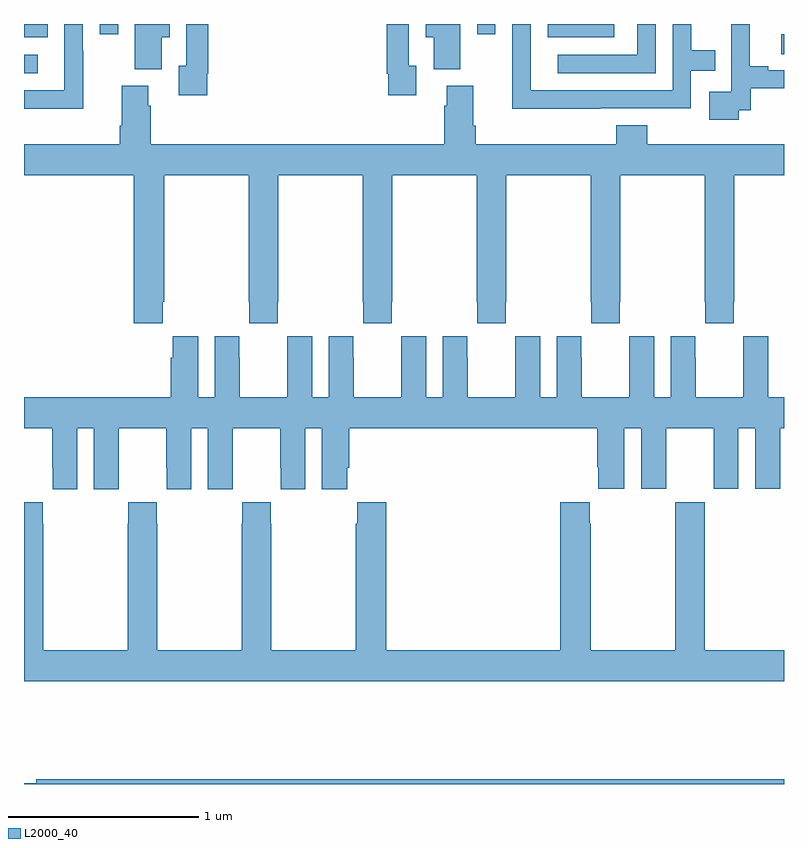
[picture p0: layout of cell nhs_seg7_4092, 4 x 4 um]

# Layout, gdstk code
import gdstk
lib = gdstk.Library(unit=1e-6, precision=1e-09)
def R(c, l, rs):  # rectangles x0, y0, x1, y1
    for r in rs: c.add(gdstk.rectangle(r[:2], r[2:], *l))
def P(c, l, *ps):  # polygons
    for p in ps: c.add(gdstk.Polygon(p, *l))
L2000_40 = (2000, 40)

nhs_seg7_4092 = lib.new_cell('nhs_seg7_4092')
R(nhs_seg7_4092, L2000_40, [(369,1079.742,369.073,1079.838), (372.986,1079.842,373,1079.946), (369,1079.93,369.124,1080), (371.756,1079.93,372.106,1080), (369.399,1079.946,369.495,1080), (371.385,1079.946,371.481,1080)])
P(nhs_seg7_4092, L2000_40, [(371.065,1079.781),(371.025,1079.781),(371.025,1080),(370.909,1080),(370.909,1079.737),(370.917,1079.737),(370.917,1079.625),(371.065,1079.625)],
  [(369.964,1079.737),(369.971,1079.737),(369.971,1080),(369.855,1080),(369.855,1079.781),(369.815,1079.781),(369.815,1079.625),(369.964,1079.625)],
  [(369.724,1079.93),(369.766,1079.93),(369.766,1080),(369.584,1080),(369.584,1079.761),(369.724,1079.761)],
  [(372.324,1080),(372.228,1080),(372.228,1079.838),(371.808,1079.838),(371.808,1079.742),(372.324,1079.742)],
  [(371.296,1080),(371.114,1080),(371.114,1079.93),(371.156,1079.93),(371.156,1079.761),(371.296,1079.761)],
  [(369.311,1079.858),(369.309,1079.858),(369.309,1080),(369.213,1080),(369.213,1079.652),(369,1079.652),(369,1079.555),(369.311,1079.555)],
  [(372.762,1079.547),(372.824,1079.547),(372.824,1079.661),(373,1079.661),(373,1079.757),(372.916,1079.757),(372.916,1079.777),(372.82,1079.777),(372.82,1080),(372.722,1080),(372.722,1079.947),(372.723,1079.947),(372.723,1079.643),(372.606,1079.643),(372.606,1079.496),(372.762,1079.496)],
  [(372.032,1079.556),(372.51,1079.556),(372.51,1079.754),(372.638,1079.754),(372.638,1079.863),(372.511,1079.863),(372.511,1080),(372.414,1080),(372.414,1079.652),(371.667,1079.652),(371.667,1080),(371.571,1080),(371.571,1079.858),(371.57,1079.858),(371.57,1079.555),(372.032,1079.555)],
  [(369.515,1079.464),(369.503,1079.464),(369.503,1079.368),(369,1079.368),(369,1079.204),(369.578,1079.204),(369.578,1078.425),(369.731,1078.425),(369.731,1078.537),(369.738,1078.537),(369.738,1079.204),(370.183,1079.204),(370.183,1078.537),(370.185,1078.537),(370.185,1078.425),(370.335,1078.425),(370.335,1078.537),(370.338,1078.537),(370.338,1079.204),(370.783,1079.204),(370.783,1078.537),(370.785,1078.537),(370.785,1078.425),(370.935,1078.425),(370.935,1078.537),(370.938,1078.537),(370.938,1079.204),(371.383,1079.204),(371.383,1078.537),(371.385,1078.537),(371.385,1078.425),(371.535,1078.425),(371.535,1078.537),(371.538,1078.537),(371.538,1079.204),(371.983,1079.204),(371.983,1078.537),(371.985,1078.537),(371.985,1078.425),(372.135,1078.425),(372.135,1078.537),(372.138,1078.537),(372.138,1079.204),(372.583,1079.204),(372.583,1078.537),(372.585,1078.537),(372.585,1078.425),(372.735,1078.425),(372.735,1078.537),(372.738,1078.537),(372.738,1079.204),(373,1079.204),(373,1079.368),(372.281,1079.368),(372.281,1079.467),(372.116,1079.467),(372.116,1079.368),(371.378,1079.368),(371.378,1079.464),(371.365,1079.464),(371.365,1079.676),(371.225,1079.676),(371.225,1079.57),(371.213,1079.57),(371.213,1079.368),(369.668,1079.368),(369.668,1079.57),(369.655,1079.57),(369.655,1079.676),(369.515,1079.676)],
  [(372.848,1077.555),(372.979,1077.555),(372.979,1077.872),(373,1077.872),(373,1078.036),(372.916,1078.036),(372.916,1078.357),(372.786,1078.357),(372.786,1078.244),(372.785,1078.244),(372.785,1078.036),(372.535,1078.036),(372.535,1078.244),(372.534,1078.244),(372.534,1078.357),(372.404,1078.357),(372.404,1078.036),(372.316,1078.036),(372.316,1078.357),(372.186,1078.357),(372.186,1078.244),(372.185,1078.244),(372.185,1078.036),(371.935,1078.036),(371.935,1078.244),(371.934,1078.244),(371.934,1078.357),(371.804,1078.357),(371.804,1078.036),(371.716,1078.036),(371.716,1078.357),(371.586,1078.357),(371.586,1078.244),(371.585,1078.244),(371.585,1078.036),(371.335,1078.036),(371.335,1078.244),(371.334,1078.244),(371.334,1078.357),(371.204,1078.357),(371.204,1078.036),(371.116,1078.036),(371.116,1078.357),(370.986,1078.357),(370.986,1078.244),(370.985,1078.244),(370.985,1078.036),(370.735,1078.036),(370.735,1078.244),(370.734,1078.244),(370.734,1078.357),(370.604,1078.357),(370.604,1078.036),(370.516,1078.036),(370.516,1078.357),(370.386,1078.357),(370.386,1078.244),(370.385,1078.244),(370.385,1078.036),(370.135,1078.036),(370.135,1078.244),(370.134,1078.244),(370.134,1078.357),(370.004,1078.357),(370.004,1078.036),(369.916,1078.036),(369.916,1078.357),(369.782,1078.357),(369.782,1078.244),(369.773,1078.244),(369.773,1078.036),(369,1078.036),(369,1077.872),(369.149,1077.872),(369.149,1077.664),(369.15,1077.664),(369.15,1077.552),(369.28,1077.552),(369.28,1077.872),(369.368,1077.872),(369.368,1077.552),(369.498,1077.552),(369.498,1077.664),(369.499,1077.664),(369.499,1077.872),(369.749,1077.872),(369.749,1077.664),(369.75,1077.664),(369.75,1077.552),(369.88,1077.552),(369.88,1077.872),(369.968,1077.872),(369.968,1077.552),(370.098,1077.552),(370.098,1077.664),(370.099,1077.664),(370.099,1077.872),(370.349,1077.872),(370.349,1077.664),(370.35,1077.664),(370.35,1077.552),(370.48,1077.552),(370.48,1077.872),(370.568,1077.872),(370.568,1077.552),(370.702,1077.552),(370.702,1077.664),(370.712,1077.664),(370.712,1077.872),(372.017,1077.872),(372.017,1077.667),(372.023,1077.667),(372.023,1077.555),(372.16,1077.555),(372.16,1077.872),(372.248,1077.872),(372.248,1077.555),(372.379,1077.555),(372.379,1077.872),(372.629,1077.872),(372.629,1077.555),(372.76,1077.555),(372.76,1077.872),(372.848,1077.872)],
  [(373,1076.704),(372.582,1076.704),(372.582,1077.484),(372.427,1077.484),(372.427,1076.704),(371.982,1076.704),(371.982,1077.371),(371.977,1077.371),(371.977,1077.484),(371.822,1077.484),(371.822,1076.704),(370.907,1076.704),(370.907,1077.484),(370.753,1077.484),(370.753,1077.371),(370.747,1077.371),(370.747,1076.704),(370.302,1076.704),(370.302,1077.371),(370.299,1077.371),(370.299,1077.484),(370.149,1077.484),(370.149,1077.371),(370.147,1077.371),(370.147,1076.704),(369.702,1076.704),(369.702,1077.371),(369.699,1077.371),(369.699,1077.484),(369.549,1077.484),(369.549,1077.371),(369.547,1077.371),(369.547,1076.704),(369.102,1076.704),(369.102,1077.371),(369.099,1077.371),(369.099,1077.484),(369,1077.484),(369,1076.54),(373,1076.54)],
  [(373,1076.024),(369.064,1076.024),(369.064,1076.005),(369,1076.005),(369,1076),(373,1076)])

lib.write_gds('nhs_seg7_4092.gds')
